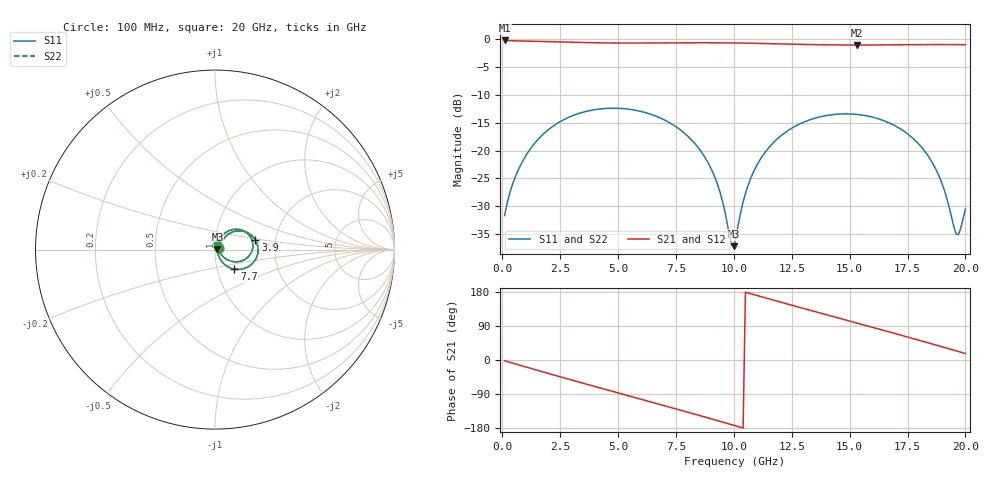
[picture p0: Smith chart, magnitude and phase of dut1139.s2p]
! Touchstone file exported from HFSS 2026.1.0
!  File:  C:/ffzhzh/LocalFiles/Ansys_Project_Files/temp_train_TSV_RDL_1139_1783308802_30076.aedt
!  Generated:  11:48:47 AM Jul  6, 2026
!  Design:  TSV_RDL
!  Project:  temp_train_TSV_RDL_1139_1783308802_30076
! Variables:
!  h_bsmrdl = 4.18um
!  h_ox = 20um
!  h_rdl = 5um
!  h_sub = 95.8um
!  h_tmrdl = 4.24um
!  h_tsv = 95.8um
!  h_via = 3um
!  l_bsmrdl = 809.65um
!  l_sub = 5669.76um
!  l_tmrdl = 671.96um
!  m_sub = 200um
!  pitch = 34.48um
!  r_tsv = 3.76um
!  s_tmrdl = 10um
!  w_bsmrdl = 27.7um
!  w_sub = 500um
!  w_tmrdl = 23.29um
!  x_tsv_center1 = 683.605um
!  x_tsv_center2 = 1520.955um
!  x_tsv_center3 = 2216.205um
!  x_tsv_center4 = 3053.555um
!  x_tsv_center5 = 3748.805um
!  x_tsv_center6 = 4586.155um
# GHz S MA R 50.000000
! Terminal data exported
! Port[1] = TM_RDL1_1_T1
! Port[2] = TM_RDL5_1_T1
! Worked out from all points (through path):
!   200 points, 100 MHz to 20 GHz, reference 50 ohm
!   highest |S21| = -0.21 dB at 100 MHz (marker M1); lowest = -1.0 dB at 15.3 GHz (marker M2)
!   group delay of S21, straight-line fit = 47.4 ps
!   lowest |S11| = -37.2 dB at 10 GHz (marker M3), VSWR 1.03, Z = 51.4 + j0.357 ohm
!   |S11| at or under -10 dB: start of sweep to end of sweep
!   |S22| runs from -37.3 to -12.4 dB; largest |S21 - S12| = 1.6e-14
!   S11 on the Smith chart (normalised r, x): 100 MHz: 1.05, +0.02; 3.9 GHz: 1.57, +0.18; 7.7 GHz: 1.21, -0.27; 20 GHz: 1.02, +0.06
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0.1  0.026 23.7  0.9765 -2.0  0.9765 -2.0  0.026 23.7
! Gamma 0 0 0 0
! Port Impedance 50 0 50 0
0.6  0.06045 49.3  0.9687 -11.0  0.9687 -11.0  0.06045 49.3
1.3  0.1095 49.4  0.9618 -23.4  0.9618 -23.4  0.1095 49.4
3.5  0.2215 19.7  0.9356 -61.4  0.9356 -61.4  0.2215 19.7
3.9  0.2313 13.5  0.9319 -68.2  0.9319 -68.2  0.2313 13.5
5.4  0.236 -9.9  0.9251 -93.2  0.9251 -93.2  0.236 -9.9
6.8  0.1971 -31.6  0.9272 -116.8  0.9272 -116.8  0.1971 -31.7
7.7  0.1527 -45.2  0.93 -132.3  0.93 -132.3  0.1527 -45.3
9.1  0.06299 -61.2  0.9311 -156.6  0.9311 -156.6  0.06296 -61.4
9.5  0.03558 -58.1  0.93 -163.6  0.93 -163.6  0.03553 -58.3
9.9  0.01403 -13.8  0.9281 -170.6  0.9281 -170.6  0.0139 -14.0
10  0.01379 14.6  0.9276 -172.4  0.9276 -172.4  0.01365 14.7
10.1  0.01695 37.3  0.927 -174.1  0.927 -174.1  0.01683 37.6
10.6  0.04762 65.0  0.9233 177.2  0.9233 177.2  0.04757 65.2
11.2  0.08689 62.6  0.9178 166.8  0.9178 166.8  0.08686 62.7
13.4  0.1924 32.2  0.8959 129.4  0.8959 129.4  0.1924 32.3
15.3  0.2112 3.6  0.8881 97.9  0.8881 97.9  0.2112 3.6
16.7  0.1774 -17.4  0.8912 74.4  0.8912 74.4  0.1774 -17.3
18.5  0.0825 -40.1  0.897 43.4  0.897 43.4  0.08253 -40.0
19  0.04981 -40.2  0.8971 34.7  0.8971 34.7  0.0499 -39.9
19.6  0.01779 5.8  0.8958 24.2  0.8958 24.2  0.0181 6.1
20  0.02973 67.5  0.8941 17.2  0.8941 17.2  0.02993 66.9
